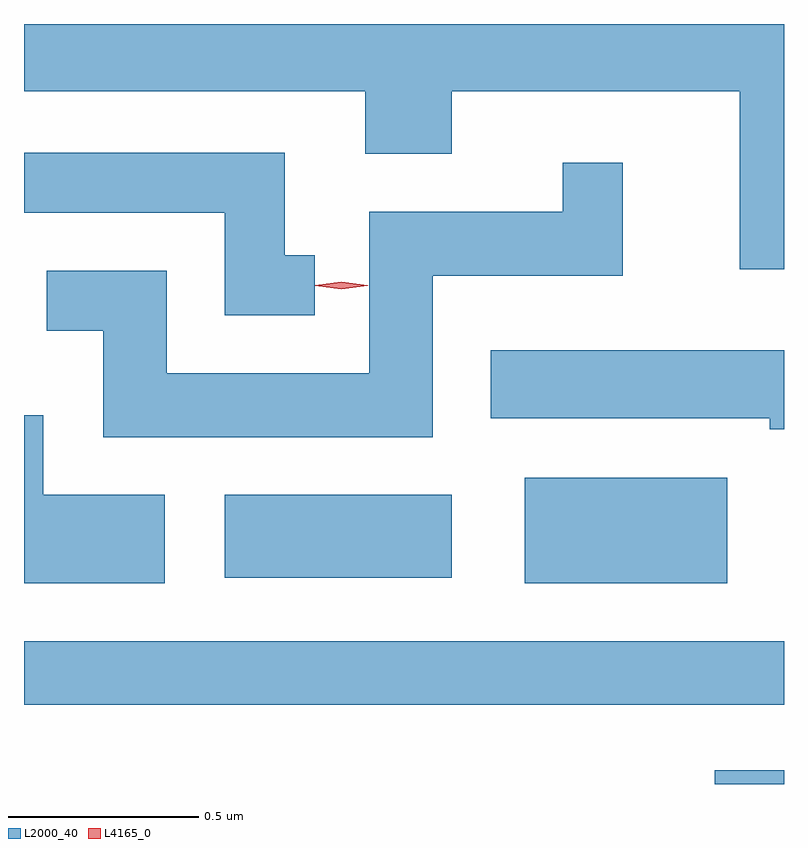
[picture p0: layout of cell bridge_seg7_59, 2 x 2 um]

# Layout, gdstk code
import gdstk
lib = gdstk.Library(unit=1e-6, precision=1e-09)
def R(c, l, rs):  # rectangles x0, y0, x1, y1
    for r in rs: c.add(gdstk.rectangle(r[:2], r[2:], *l))
def P(c, l, *ps):  # polygons
    for p in ps: c.add(gdstk.Polygon(p, *l))
L2000_40 = (2000, 40)
L4165_0 = (4165, 0)

bridge_seg7_59 = lib.new_cell('bridge_seg7_59')
R(bridge_seg7_59, L2000_40, [(1623.341,1761.333,1623.523,1761.369), (1621.523,1761.541,1623.523,1761.709), (1622.841,1761.861,1623.374,1762.139), (1622.051,1761.876,1622.649,1762.094)])
P(bridge_seg7_59, L2000_40, [(1623.523,1763.333),(1621.523,1763.333),(1621.523,1763.156),(1622.421,1763.156),(1622.421,1762.991),(1622.649,1762.991),(1622.649,1763.156),(1623.406,1763.156),(1623.406,1762.688),(1623.523,1762.688)],
  [(1622.288,1762.724),(1622.209,1762.724),(1622.209,1762.994),(1621.523,1762.994),(1621.523,1762.836),(1622.051,1762.836),(1622.051,1762.566),(1622.288,1762.566)],
  [(1622.599,1762.671),(1623.099,1762.671),(1623.099,1762.968),(1622.941,1762.968),(1622.941,1762.839),(1622.431,1762.839),(1622.431,1762.414),(1621.899,1762.414),(1621.899,1762.684),(1621.583,1762.684),(1621.583,1762.526),(1621.731,1762.526),(1621.731,1762.246),(1622.599,1762.246)],
  [(1623.523,1762.474),(1622.751,1762.474),(1622.751,1762.296),(1623.486,1762.296),(1623.486,1762.266),(1623.523,1762.266)],
  [(1621.894,1762.094),(1621.574,1762.094),(1621.574,1762.304),(1621.523,1762.304),(1621.523,1761.861),(1621.894,1761.861)])
P(bridge_seg7_59, L4165_0, [(1622.358,1762.635),(1622.289,1762.644),(1622.289,1762.645),(1622.289,1762.645),(1622.358,1762.655),(1622.428,1762.645),(1622.428,1762.645),(1622.428,1762.644)])

lib.write_gds('bridge_seg7_59.gds')
